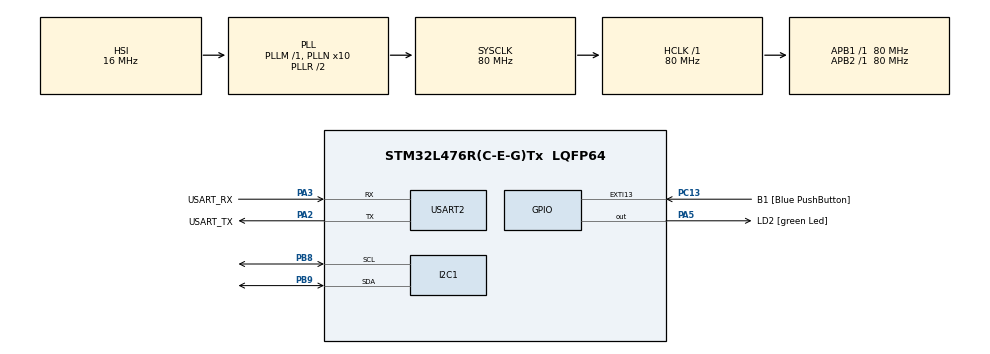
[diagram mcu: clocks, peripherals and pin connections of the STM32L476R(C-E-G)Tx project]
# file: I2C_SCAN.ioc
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I2C1.Timing=0x10909CEC
Mcu.Family=STM32L4
Mcu.Name=STM32L476R(C-E-G)Tx
Mcu.Package=LQFP64
NVIC.I2C1_ER_IRQn=true\:0\:0\:false\:false\:true\:true\:true
NVIC.I2C1_EV_IRQn=true\:0\:0\:false\:false\:true\:true\:true
NVIC.PriorityGroup=NVIC_PRIORITYGROUP_4
PA13\ (JTMS-SWDIO).GPIO_Label=TMS
PA13\ (JTMS-SWDIO).Mode=Serial_Wire
PA13\ (JTMS-SWDIO).Signal=SYS_JTMS-SWDIO
PA14\ (JTCK-SWCLK).GPIO_Label=TCK
PA14\ (JTCK-SWCLK).Mode=Serial_Wire
PA14\ (JTCK-SWCLK).Signal=SYS_JTCK-SWCLK
PA2.GPIO_Label=USART_TX
PA2.GPIO_Mode=GPIO_MODE_AF_PP
PA2.GPIO_PuPd=GPIO_NOPULL
PA2.GPIO_Speed=GPIO_SPEED_FREQ_VERY_HIGH
PA2.Mode=Asynchronous
PA2.Signal=USART2_TX
PA3.GPIO_Label=USART_RX
PA3.GPIO_Mode=GPIO_MODE_AF_PP
PA3.GPIO_PuPd=GPIO_NOPULL
PA3.GPIO_Speed=GPIO_SPEED_FREQ_VERY_HIGH
PA3.Mode=Asynchronous
PA3.Signal=USART2_RX
PA5.GPIO_Label=LD2 [green Led]
PA5.GPIO_ModeDefaultOutputPP=GPIO_MODE_OUTPUT_PP
PA5.GPIO_PuPd=GPIO_NOPULL
PA5.GPIO_Speed=GPIO_SPEED_FREQ_LOW
PA5.Signal=GPIO_Output
PB3\ (JTDO-TRACESWO).GPIO_Label=SWO
PB3\ (JTDO-TRACESWO).Signal=SYS_JTDO-SWO
PB8.Mode=I2C
PB8.Signal=I2C1_SCL
PB9.Mode=I2C
PB9.Signal=I2C1_SDA
PC13.GPIO_Label=B1 [Blue PushButton]
PC13.GPIO_ModeDefaultEXTI=GPIO_MODE_IT_FALLING
PC13.GPIO_PuPd=GPIO_NOPULL
PC13.Signal=GPXTI13
PC14-OSC32_IN\ (PC14).Mode=LSE-External-Oscillator
PC14-OSC32_IN\ (PC14).Signal=RCC_OSC32_IN
PC15-OSC32_OUT\ (PC15).Mode=LSE-External-Oscillator
PC15-OSC32_OUT\ (PC15).Signal=RCC_OSC32_OUT
PH0-OSC_IN\ (PH0).Signal=RCC_OSC_IN
PH1-OSC_OUT\ (PH1).Signal=RCC_OSC_OUT
ProjectManager.HeapSize=0x200
ProjectManager.StackSize=0x400
ProjectManager.TargetToolchain=STM32CubeIDE
RCC.ADCFreq_Value=64000000
RCC.AHBFreq_Value=80000000
RCC.APB1Freq_Value=80000000
RCC.APB1TimFreq_Value=80000000
RCC.APB2Freq_Value=80000000
RCC.APB2TimFreq_Value=80000000
RCC.CortexFreq_Value=80000000
RCC.HCLKFreq_Value=80000000
RCC.HSE_VALUE=8000000
RCC.HSI_VALUE=16000000
RCC.MSI_VALUE=4000000
RCC.PLLN=10
RCC.PLLSourceVirtual=RCC_PLLSOURCE_HSI
RCC.PREFETCH_ENABLE=1
RCC.SYSCLKFreq_VALUE=80000000
RCC.SYSCLKSource=RCC_SYSCLKSOURCE_PLLCLK
RCC.USBFreq_Value=64000000
RCC.VCOOutputFreq_Value=160000000
USART2.VirtualMode-Asynchronous=VM_ASYNC
board=NUCLEO-L476RG

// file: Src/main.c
/* USER CODE BEGIN Header */
/**
  ******************************************************************************
  * @file           : main.c
  * @brief          : Main program body
  ******************************************************************************
  * @attention
  *
  * <h2><center>&copy; Copyright (c) 2021 STMicroelectronics.
  * All rights reserved.</center></h2>
  *
  * This software component is licensed by ST under BSD 3-Clause license,
  * the "License"; You may not use this file except in compliance with the
  * License. You may obtain a copy of the License at:
  *                        opensource.org/licenses/BSD-3-Clause
  *
  ******************************************************************************

  Example is using USART2 serial output re-targeting as described in
  https://shawnhymel.com/1873/how-to-use-printf-on-stm32/

  */
/* USER CODE END Header */
#include "main.h"
#include "i2c.h"
#include "usart.h"
#include "gpio.h"

/* USER CODE BEGIN Includes */

#include "retarget.h"

#include <stdio.h>

/* USER CODE END Includes */

void SystemClock_Config(void);

int main(void)
{

	/* MCU Configuration--------------------------------------------------------*/

	/* Reset of all peripherals, Initializes the Flash interface and the Systick. */
	HAL_Init();

	/* Configure the system clock */
	SystemClock_Config();

	/* Initialize all configured peripherals */

	MX_GPIO_Init();
	MX_USART2_UART_Init();
	MX_I2C1_Init();

	/* USER CODE BEGIN 2 */

	RetargetInit(&huart2);  // Re-direct console I/O to USART2 and J-Link VCOM

	printf("I2C Scanner started...\r\n");

	uint8_t devFound = 0;

    for (uint8_t addr = 0; addr <= 127; addr++) {

		uint8_t dummy[1] = {0};

		if (HAL_I2C_Master_Transmit(&hi2c1, addr << 1, dummy, 0, 100) == HAL_OK) {

			printf("I2C Device[%d] found at 0x%02X\r\n", ++devFound, addr << 1);
		}
    }

    if (!devFound) {
    	printf("No I2C devices found...\r\n");
    }

	printf("I2C Scanner finished.\r\n");

    /* USER CODE END 2 */

    /* Infinite loop */
    /* USER CODE BEGIN WHILE */

    while (1)
    {
		HAL_GPIO_TogglePin(LD2_GPIO_Port, LD2_Pin);
		HAL_Delay(250);

		/* USER CODE END WHILE */

		/* USER CODE BEGIN 3 */
    }
}

void SystemClock_Config(void)
{
  RCC_OscInitTypeDef RCC_OscInitStruct = {0};
  RCC_ClkInitTypeDef RCC_ClkInitStruct = {0};
  RCC_PeriphCLKInitTypeDef PeriphClkInit = {0};

  /** Initializes the RCC Oscillators according to the specified parameters
  * in the RCC_OscInitTypeDef structure.
  */
  RCC_OscInitStruct.OscillatorType = RCC_OSCILLATORTYPE_HSI;
  RCC_OscInitStruct.HSIState = RCC_HSI_ON;
  RCC_OscInitStruct.HSICalibrationValue = RCC_HSICALIBRATION_DEFAULT;
  RCC_OscInitStruct.PLL.PLLState = RCC_PLL_ON;
  RCC_OscInitStruct.PLL.PLLSource = RCC_PLLSOURCE_HSI;
  RCC_OscInitStruct.PLL.PLLM = 1;
  RCC_OscInitStruct.PLL.PLLN = 10;
  RCC_OscInitStruct.PLL.PLLP = RCC_PLLP_DIV7;
  RCC_OscInitStruct.PLL.PLLQ = RCC_PLLQ_DIV2;
  RCC_OscInitStruct.PLL.PLLR = RCC_PLLR_DIV2;

  if (HAL_RCC_OscConfig(&RCC_OscInitStruct) != HAL_OK)
  {
    Error_Handler();
  }
  /** Initializes the CPU, AHB and APB buses clocks
  */
  RCC_ClkInitStruct.ClockType = RCC_CLOCKTYPE_HCLK|RCC_CLOCKTYPE_SYSCLK
                              |RCC_CLOCKTYPE_PCLK1|RCC_CLOCKTYPE_PCLK2;
  RCC_ClkInitStruct.SYSCLKSource = RCC_SYSCLKSOURCE_PLLCLK;
  RCC_ClkInitStruct.AHBCLKDivider = RCC_SYSCLK_DIV1;
  RCC_ClkInitStruct.APB1CLKDivider = RCC_HCLK_DIV1;
  RCC_ClkInitStruct.APB2CLKDivider = RCC_HCLK_DIV1;

  if (HAL_RCC_ClockConfig(&RCC_ClkInitStruct, FLASH_LATENCY_4) != HAL_OK)
  {
    Error_Handler();
  }

  PeriphClkInit.PeriphClockSelection = RCC_PERIPHCLK_USART2|RCC_PERIPHCLK_I2C1;
  PeriphClkInit.Usart2ClockSelection = RCC_USART2CLKSOURCE_PCLK1;
  PeriphClkInit.I2c1ClockSelection = RCC_I2C1CLKSOURCE_PCLK1;

  if (HAL_RCCEx_PeriphCLKConfig(&PeriphClkInit) != HAL_OK)
  {
    Error_Handler();
  }
  /** Configure the main internal regulator output voltage
  */
  if (HAL_PWREx_ControlVoltageScaling(PWR_REGULATOR_VOLTAGE_SCALE1) != HAL_OK)
  {
    Error_Handler();
  }
}

void Error_Handler(void)
{
  /* USER CODE BEGIN Error_Handler_Debug */
  /* User can add his own implementation to report the HAL error return state */

  __disable_irq();

  while (1)
  {
		HAL_GPIO_TogglePin(LD2_GPIO_Port, LD2_Pin);
		HAL_Delay(125);
  }
  /* USER CODE END Error_Handler_Debug */
}

/************************ (C) COPYRIGHT STMicroelectronics *****END OF FILE****/
